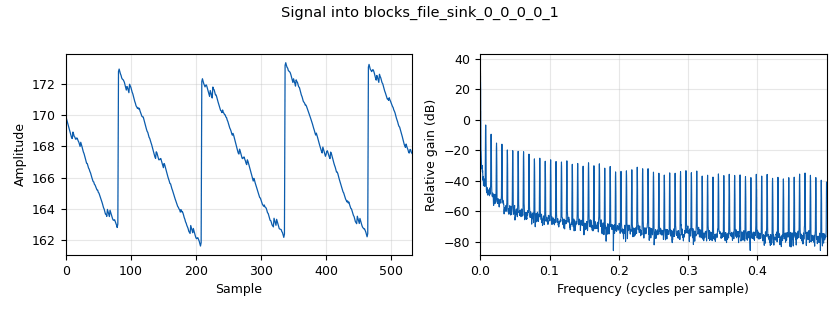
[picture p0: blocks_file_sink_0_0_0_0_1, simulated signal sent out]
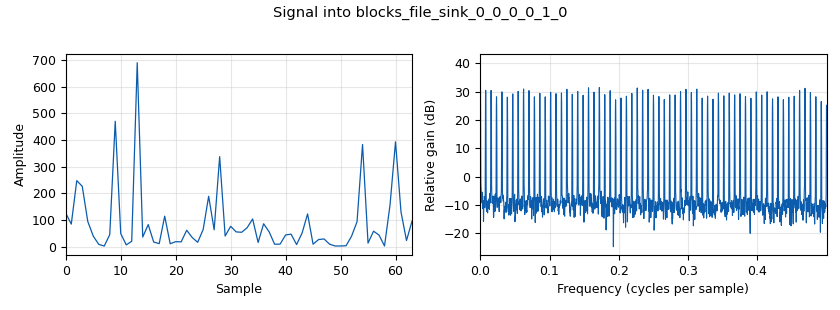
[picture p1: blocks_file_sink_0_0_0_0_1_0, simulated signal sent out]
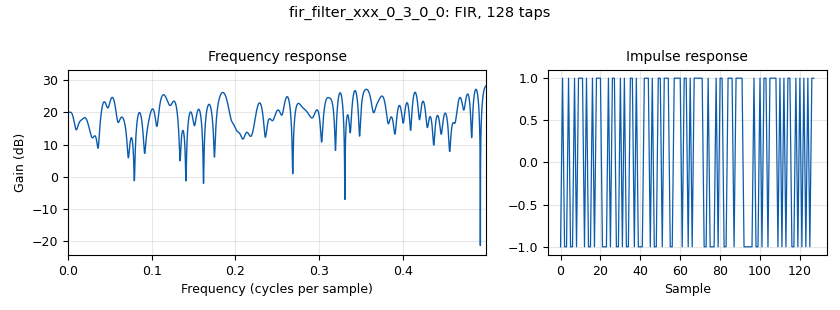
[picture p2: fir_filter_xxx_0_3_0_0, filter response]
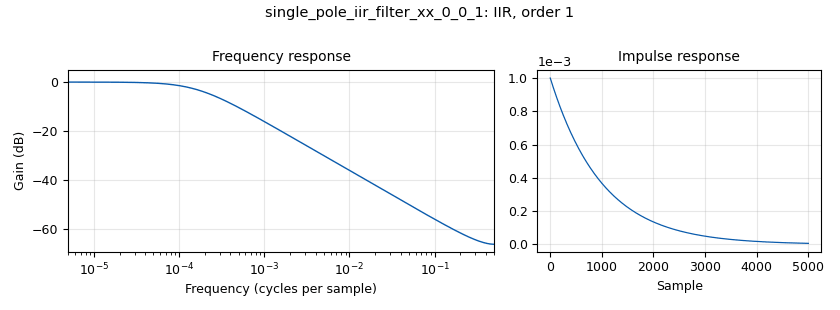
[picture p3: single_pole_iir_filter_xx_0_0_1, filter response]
<?xml version='1.0' encoding='utf-8'?>
<?grc format='1' created='3.7.11'?>
<flow_graph>
<block>
<key>options</key>
<param><key>id</key><value>top_block</value></param>
<param><key>category</key><value>Custom</value></param>
<param><key>generate_options</key><value>qt_gui</value></param>
</block>
<block>
<key>variable</key>
<param><key>id</key><value>A</value></param>
<param><key>value</key><value>np.arange(Nt)[np.newaxis]</value></param>
</block>
<block>
<key>variable</key>
<param><key>id</key><value>L</value></param>
<param><key>value</key><value>1</value></param>
</block>
<block>
<key>variable</key>
<param><key>id</key><value>Nt</value></param>
<param><key>value</key><value>2</value></param>
</block>
<block>
<key>variable</key>
<param><key>id</key><value>Pt</value></param>
<param><key>value</key><value>100</value></param>
</block>
<block>
<key>variable</key>
<param><key>id</key><value>Q</value></param>
<param><key>value</key><value>16</value></param>
</block>
<block>
<key>variable</key>
<param><key>id</key><value>channel</value></param>
<param><key>value</key><value>np.true_divide(np.random.standard_normal(size=(L,L,Nt,Nt))+np.random.standard_normal(size=(L,L,Nt,Nt))*1j,np.sqrt(2))</value></param>
</block>
<block>
<key>variable</key>
<param><key>id</key><value>channelfile</value></param>
<param><key>value</key><value>prefix+'/channels/2x2channel_10dB_3.bin'</value></param>
</block>
<block>
<key>variable</key>
<param><key>id</key><value>dft_coef</value></param>
<param><key>value</key><value>np.exp(-2*np.pi*1j/Nt)</value></param>
</block>
<block>
<key>variable</key>
<param><key>id</key><value>dft_matrix</value></param>
<param><key>value</key><value>np.power(dft_coef, np.dot(A.transpose(),A))</value></param>
</block>
<block>
<key>variable</key>
<param><key>id</key><value>dft_pilot_seq</value></param>
<param><key>value</key><value>np.tile(dft_matrix,(tlen/Nt,1))</value></param>
</block>
<block>
<key>variable</key>
<param><key>id</key><value>ichn_gain_dB</value></param>
<param><key>value</key><value>10</value></param>
</block>
<block>
<key>variable</key>
<param><key>id</key><value>noise</value></param>
<param><key>value</key><value>[np.identity(Nt), np.identity(Nt)]</value></param>
</block>
<block>
<key>variable</key>
<param><key>id</key><value>noise_hat</value></param>
<param><key>value</key><value>[np.identity(Nt), np.identity(Nt)]</value></param>
</block>
<block>
<key>variable</key>
<param><key>id</key><value>noise_voltage</value></param>
<param><key>value</key><value>(samp_rate/(2*symbol_rate)*10**(-EbNo_dB/10.0))**0.5</value></param>
</block>
<block>
<key>variable</key>
<param><key>id</key><value>payload</value></param>
<param><key>value</key><value>172</value></param>
</block>
<block>
<key>variable</key>
<param><key>id</key><value>payload_size</value></param>
<param><key>value</key><value>0</value></param>
</block>
<block>
<key>variable</key>
<param><key>id</key><value>pilot1</value></param>
<param><key>value</key><value>np.array([1,1,-1,1,-1,-1,-1,1,-1,-1,-1,1,-1,-1,-1,1,-1,-1,-1,1,-1,-1,1,-1,1,1,-1,1,-1,-1,-1,1,-1,-1,-1,1,-1,-1,-1,1,1,1,-1,1,1,1,1,-1,1,1,-1,1,-1,-1,-1,1,-1,-1,1,-1,1,1,1,-1,-1,-1,1,-1,-1,-1,1,-1,1,1,-1,1,1,1,-1,1,-1,-1,-1,1,1,1,-1,1,-1,-1,1,-1,1,1,-1,1,-1,-1,-1,1,-1,-1,1,-1,-1,-1,-1,1,-1,-1,1,-1,1,1,-1,1,1,1,-1,1,1,1,1,-1,1,1,1,-1,1,1,-1,1,-1,-1,-1,1,1,1,-1,1,1,1,1,-1,-1,-1,-1,1,1,1,-1,1,-1,-1,-1,1,1,1,1,-1,-1,-1,-1,1,-1,-1,-1,1,1,1,-1,1,-1,-1,1,-1,-1,-1,-1,1,-1,-1,-1,1,1,1,1,-1,-1,-1,-1,1,-1,-1,-1,1,-1,-1,1,-1,1,1,-1,1,-1,-1,-1,1,-1,-1,1,-1,-1,-1,-1,1,1,1,-1,1,-1,-1,-1,1,-1,-1,1,-1,1,1,1,-1,1,1,-1,1,1,1,1,-1,1,1,1,-1,-1,-1,-1,1,-1,-1,1,-1,1,1,1,-1])</value></param>
</block>
<block>
<key>variable</key>
<param><key>id</key><value>pilot1file</value></param>
<param><key>value</key><value>prefix+'/pilots/pilot1_4000.bin'</value></param>
</block>
<block>
<key>variable</key>
<param><key>id</key><value>pilot2</value></param>
<param><key>value</key><value>np.array([1,1,-1,1,-1,-1,-1,1,-1,-1,-1,1,-1,-1,-1,1,-1,-1,-1,1,1,1,-1,1,1,1,-1,1,-1,-1,-1,1,-1,-1,-1,1,-1,-1,1,-1,1,1,-1,1,1,1,-1,1,1,1,-1,1,-1,-1,-1,1,1,1,-1,1,-1,-1,-1,1,1,1,-1,1,1,1,-1,1,1,1,1,-1,1,1,1,-1,-1,-1,-1,1,1,1,-1,1,-1,-1,-1,1,-1,-1,-1,1,-1,-1,-1,1,1,1,-1,1,-1,-1,-1,1,1,1,1,-1,1,1,-1,1,-1,-1,1,-1,1,1,1,-1,1,1,1,-1,-1,-1,1,-1,1,1,1,-1,1,1,-1,1,1,1,-1,1,-1,-1,1,-1,1,1,1,-1,-1,-1,1,-1,1,1,-1,1,1,1,1,-1,-1,-1,-1,1,1,1,-1,1,-1,-1,1,-1,-1,-1,1,-1,1,1,1,-1,1,1,-1,1,-1,-1,-1,1,-1,-1,-1,1,1,1,1,-1,-1,-1,1,-1,1,1,-1,1,1,1,-1,1,-1,-1,1,-1,-1,-1,-1,1,1,1,1,-1,1,1,-1,1,-1,-1,1,-1,-1,-1,1,-1,1,1,-1,1,-1,-1,-1,1,-1,-1,-1,1,1,1,-1,1,-1,-1,1,-1])</value></param>
</block>
<block>
<key>variable</key>
<param><key>id</key><value>pilot2file</value></param>
<param><key>value</key><value>prefix+'/pilots/pilot2_4000.bin'</value></param>
</block>
<block>
<key>variable</key>
<param><key>id</key><value>pilot_seq_1</value></param>
<param><key>value</key><value>np.multiply(dft_pilot_seq,scramble_1)</value></param>
</block>
<block>
<key>variable</key>
<param><key>id</key><value>pilot_seq_2</value></param>
<param><key>value</key><value>np.multiply(dft_pilot_seq,scramble_2)</value></param>
</block>
<block>
<key>variable</key>
<param><key>id</key><value>prefix</value></param>
<param><key>value</key><value>'/home/zhe/gr-PWF/examples'</value></param>
</block>
<block>
<key>variable</key>
<param><key>id</key><value>prewhiten0</value></param>
<param><key>value</key><value>np.linalg.pinv(noise[0])</value></param>
</block>
<block>
<key>variable</key>
<param><key>id</key><value>prewhiten1</value></param>
<param><key>value</key><value>np.linalg.pinv(noise[1])</value></param>
</block>
<block>
<key>variable</key>
<param><key>id</key><value>pulse</value></param>
<param><key>_enabled</key><value>0</value></param>
<param><key>value</key><value>filter.firdes.root_raised_cosine(Q,Q,1,0.35,11*Q)</value></param>
</block>
<block>
<key>variable</key>
<param><key>id</key><value>samp_rate</value></param>
<param><key>value</key><value>400000</value></param>
</block>
<block>
<key>variable</key>
<param><key>id</key><value>scramble_1</value></param>
<param><key>value</key><value>2*np.random.random_integers(0,1,size=(tlen,Nt))-1</value></param>
</block>
<block>
<key>variable</key>
<param><key>id</key><value>scramble_2</value></param>
<param><key>value</key><value>2*np.random.random_integers(0,1,size=(tlen,Nt))-1</value></param>
</block>
<block>
<key>variable</key>
<param><key>id</key><value>sigmagenfile</value></param>
<param><key>value</key><value>prefix+'/sigmagens/sigmagen_10.bin'</value></param>
</block>
<block>
<key>variable</key>
<param><key>id</key><value>symbol_rate</value></param>
<param><key>value</key><value>100000</value></param>
</block>
<block>
<key>variable</key>
<param><key>id</key><value>tlen</value></param>
<param><key>value</key><value>128</value></param>
</block>
<block>
<key>parameter</key>
<param><key>id</key><value>EbNo_dB</value></param>
<param><key>type</key><value>eng_float</value></param>
<param><key>value</key><value>15</value></param>
</block>
<block>
<key>PWF_rx_frame_sync</key>
<param><key>id</key><value>PWF_rx_frame_sync_0</value></param>
<param><key>pilot_length</key><value>tlen</value></param>
</block>
<block>
<key>PWF_sigmagen</key>
<param><key>id</key><value>PWF_sigmagen_0</value></param>
<param><key>_enabled</key><value>0</value></param>
<param><key>filename</key><value>sigmagenfile</value></param>
<param><key>nlinks</key><value>L</value></param>
<param><key>rfrom_file</key><value>False</value></param>
<param><key>nt</key><value>Nt</value></param>
<param><key>Pt</key><value>Pt</value></param>
</block>
<block>
<key>blocks_complex_to_mag_squared</key>
<param><key>id</key><value>blocks_complex_to_mag_squared_0</value></param>
</block>
<block>
<key>blocks_file_sink</key>
<param><key>id</key><value>blocks_file_sink_0_0_0</value></param>
<param><key>_enabled</key><value>0</value></param>
<param><key>file</key><value>/home/zhe/Dropbox/gnuradio_trunk/gnufiles/filt1</value></param>
<param><key>type</key><value>complex</value></param>
<param><key>unbuffered</key><value>True</value></param>
</block>
<block>
<key>blocks_file_sink</key>
<param><key>id</key><value>blocks_file_sink_0_0_0_0_1</value></param>
<param><key>file</key><value>/home/zhe/Dropbox/gnuradio_trunk/gnufiles/avg2</value></param>
<param><key>type</key><value>float</value></param>
<param><key>unbuffered</key><value>True</value></param>
</block>
<block>
<key>blocks_file_sink</key>
<param><key>id</key><value>blocks_file_sink_0_0_0_0_1_0</value></param>
<param><key>file</key><value>/home/zhe/Dropbox/gnuradio_trunk/gnufiles/matched2</value></param>
<param><key>type</key><value>float</value></param>
<param><key>unbuffered</key><value>True</value></param>
</block>
<block>
<key>blocks_file_sink</key>
<param><key>id</key><value>blocks_file_sink_0_0_0_0_2</value></param>
<param><key>file</key><value>/home/zhe/Dropbox/gnuradio_trunk/gnufiles/flag2</value></param>
<param><key>type</key><value>byte</value></param>
<param><key>unbuffered</key><value>True</value></param>
</block>
<block>
<key>blocks_file_sink</key>
<param><key>id</key><value>blocks_file_sink_0_0_0_0_2_0</value></param>
<param><key>file</key><value>/home/zhe/Dropbox/gnuradio_trunk/gnufiles/avged</value></param>
<param><key>type</key><value>complex</value></param>
<param><key>unbuffered</key><value>True</value></param>
</block>
<block>
<key>blocks_file_sink</key>
<param><key>id</key><value>blocks_file_sink_0_0_0_0_2_0_0</value></param>
<param><key>file</key><value>/home/zhe/Dropbox/gnuradio_trunk/gnufiles/rx</value></param>
<param><key>type</key><value>complex</value></param>
<param><key>unbuffered</key><value>True</value></param>
</block>
<block>
<key>blocks_file_sink</key>
<param><key>id</key><value>blocks_file_sink_0_0_0_0_2_0_1</value></param>
<param><key>file</key><value>/home/zhe/Dropbox/gnuradio_trunk/gnufiles/rx_frame</value></param>
<param><key>type</key><value>complex</value></param>
<param><key>unbuffered</key><value>True</value></param>
</block>
<block>
<key>blocks_peak_detector2_fb</key>
<param><key>id</key><value>blocks_peak_detector2_fb_0_0</value></param>
<param><key>alpha</key><value>0.001</value></param>
<param><key>look_ahead</key><value>tlen/2</value></param>
<param><key>threshold_factor_rise</key><value>20</value></param>
</block>
<block>
<key>blocks_throttle</key>
<param><key>id</key><value>blocks_throttle_0</value></param>
<param><key>samples_per_second</key><value>samp_rate</value></param>
<param><key>type</key><value>complex</value></param>
</block>
<block>
<key>blocks_vector_source_x</key>
<param><key>id</key><value>blocks_vector_source_x_0</value></param>
<param><key>type</key><value>complex</value></param>
<param><key>repeat</key><value>True</value></param>
<param><key>vector</key><value>pilot1[1::2]</value></param>
</block>
<block>
<key>channels_channel_model</key>
<param><key>id</key><value>channels_channel_model_0</value></param>
<param><key>epsilon</key><value>1.0</value></param>
<param><key>freq_offset</key><value>0.0</value></param>
<param><key>noise_voltage</key><value>noise_voltage</value></param>
<param><key>seed</key><value>0</value></param>
<param><key>taps</key><value>0.8</value></param>
</block>
<block>
<key>fir_filter_xxx</key>
<param><key>id</key><value>fir_filter_xxx_0_3_0_0</value></param>
<param><key>decim</key><value>1</value></param>
<param><key>taps</key><value>pilot1[1::2][::-1]</value></param>
<param><key>type</key><value>ccf</value></param>
</block>
<block>
<key>import</key>
<param><key>id</key><value>import_0</value></param>
<param><key>import</key><value>import numpy as np</value></param>
</block>
<block>
<key>single_pole_iir_filter_xx</key>
<param><key>id</key><value>single_pole_iir_filter_xx_0_0_1</value></param>
<param><key>alpha</key><value>0.001</value></param>
<param><key>type</key><value>complex</value></param>
</block>
<connection><source_block_id>PWF_rx_frame_sync_0</source_block_id><sink_block_id>blocks_file_sink_0_0_0_0_2_0_1</sink_block_id><source_key>0</source_key><sink_key>0</sink_key></connection>
<connection><source_block_id>PWF_rx_frame_sync_0</source_block_id><sink_block_id>single_pole_iir_filter_xx_0_0_1</sink_block_id><source_key>0</source_key><sink_key>0</sink_key></connection>
<connection><source_block_id>blocks_complex_to_mag_squared_0</source_block_id><sink_block_id>blocks_file_sink_0_0_0_0_1_0</sink_block_id><source_key>0</source_key><sink_key>0</sink_key></connection>
<connection><source_block_id>blocks_complex_to_mag_squared_0</source_block_id><sink_block_id>blocks_peak_detector2_fb_0_0</sink_block_id><source_key>0</source_key><sink_key>0</sink_key></connection>
<connection><source_block_id>blocks_peak_detector2_fb_0_0</source_block_id><sink_block_id>blocks_file_sink_0_0_0_0_1</sink_block_id><source_key>1</source_key><sink_key>0</sink_key></connection>
<connection><source_block_id>blocks_peak_detector2_fb_0_0</source_block_id><sink_block_id>PWF_rx_frame_sync_0</sink_block_id><source_key>0</source_key><sink_key>1</sink_key></connection>
<connection><source_block_id>blocks_peak_detector2_fb_0_0</source_block_id><sink_block_id>blocks_file_sink_0_0_0_0_2</sink_block_id><source_key>0</source_key><sink_key>0</sink_key></connection>
<connection><source_block_id>blocks_throttle_0</source_block_id><sink_block_id>PWF_rx_frame_sync_0</sink_block_id><source_key>0</source_key><sink_key>0</sink_key></connection>
<connection><source_block_id>blocks_throttle_0</source_block_id><sink_block_id>fir_filter_xxx_0_3_0_0</sink_block_id><source_key>0</source_key><sink_key>0</sink_key></connection>
<connection><source_block_id>blocks_vector_source_x_0</source_block_id><sink_block_id>channels_channel_model_0</sink_block_id><source_key>0</source_key><sink_key>0</sink_key></connection>
<connection><source_block_id>channels_channel_model_0</source_block_id><sink_block_id>blocks_file_sink_0_0_0_0_2_0_0</sink_block_id><source_key>0</source_key><sink_key>0</sink_key></connection>
<connection><source_block_id>channels_channel_model_0</source_block_id><sink_block_id>blocks_throttle_0</sink_block_id><source_key>0</source_key><sink_key>0</sink_key></connection>
<connection><source_block_id>fir_filter_xxx_0_3_0_0</source_block_id><sink_block_id>blocks_complex_to_mag_squared_0</sink_block_id><source_key>0</source_key><sink_key>0</sink_key></connection>
<connection><source_block_id>single_pole_iir_filter_xx_0_0_1</source_block_id><sink_block_id>blocks_file_sink_0_0_0_0_2_0</sink_block_id><source_key>0</source_key><sink_key>0</sink_key></connection>
</flow_graph>
